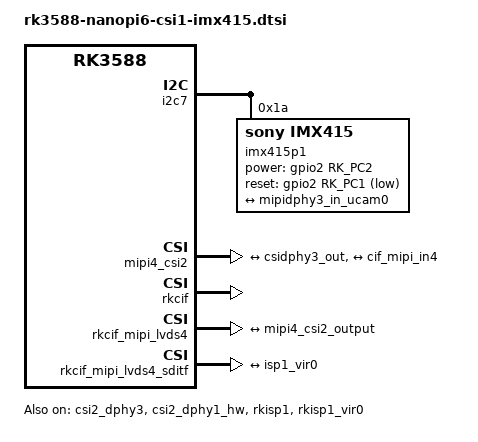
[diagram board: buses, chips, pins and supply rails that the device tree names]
// SPDX-License-Identifier: (GPL-2.0+ OR MIT)
/*
 * Copyright (c) 2022 FriendlyElec Computer Tech. Co., Ltd.
 * (http://www.friendlyelec.com)
 *
 * Copyright (c) 2022 Rockchip Electronics Co., Ltd.
 */

&csi2_dphy3 {
	status = "okay";

	ports {
		#address-cells = <1>;
		#size-cells = <0>;

		port@0 {
			reg = <0>;
			#address-cells = <1>;
			#size-cells = <0>;

			mipidphy3_in_ucam0: endpoint@1 {
				reg = <1>;
				remote-endpoint = <&imx415_out1>;
				data-lanes = <1 2 3 4>;
			};
		};

		port@1 {
			reg = <1>;
			#address-cells = <1>;
			#size-cells = <0>;

			csidphy3_out: endpoint@0 {
				reg = <0>;
				remote-endpoint = <&mipi4_csi2_input>;
			};
		};
	};
};

&csi2_dphy1_hw {
	status = "okay";
};

&i2c7 {
	status = "okay";

	imx415p1: imx415@1a {
		compatible = "sony,imx415";
		reg = <0x1a>;
		clocks = <&cru CLK_MIPI_CAMARAOUT_M2>;
		clock-names = "xvclk";
		power-domains = <&power RK3588_PD_VI>;
		pinctrl-names = "default";
		pinctrl-0 = <&mipim0_camera2_clk>;

		power-gpios = <&gpio2 RK_PC2 GPIO_ACTIVE_HIGH>;
		reset-gpios = <&gpio2 RK_PC1 GPIO_ACTIVE_LOW>;
		rockchip,camera-module-index = <1>;
		rockchip,camera-module-facing = "back";
		rockchip,camera-module-name = "CMK-OT2022-PX1";
		rockchip,camera-module-lens-name = "IR0147-50IRC-8M-F20";

		port {
			imx415_out1: endpoint {
				remote-endpoint = <&mipidphy3_in_ucam0>;
				data-lanes = <1 2 3 4>;
			};
		};
	};
};

&mipi4_csi2 {
	status = "okay";

	ports {
		#address-cells = <1>;
		#size-cells = <0>;

		port@0 {
			reg = <0>;
			#address-cells = <1>;
			#size-cells = <0>;

			mipi4_csi2_input: endpoint@1 {
				reg = <1>;
				remote-endpoint = <&csidphy3_out>;
			};
		};

		port@1 {
			reg = <1>;
			#address-cells = <1>;
			#size-cells = <0>;

			mipi4_csi2_output: endpoint@0 {
				reg = <0>;
				remote-endpoint = <&cif_mipi_in4>;
			};
		};
	};
};

&rkcif {
	status = "okay";
};

&rkcif_mipi_lvds4 {
	status = "okay";

	port {
		cif_mipi_in4: endpoint {
			remote-endpoint = <&mipi4_csi2_output>;
		};
	};
};

&rkcif_mipi_lvds4_sditf {
	status = "okay";

	port {
		mipi4_lvds_sditf: endpoint {
			remote-endpoint = <&isp1_vir0>;
		};
	};
};

&rkcif_mmu {
	status = "okay";
};

&rkisp1 {
	status = "okay";
};

&isp1_mmu {
	status = "okay";
};

&rkisp1_vir0 {
	status = "okay";

	port {
		#address-cells = <1>;
		#size-cells = <0>;

		isp1_vir0: endpoint@0 {
			reg = <0>;
			remote-endpoint = <&mipi4_lvds_sditf>;
		};
	};
};
